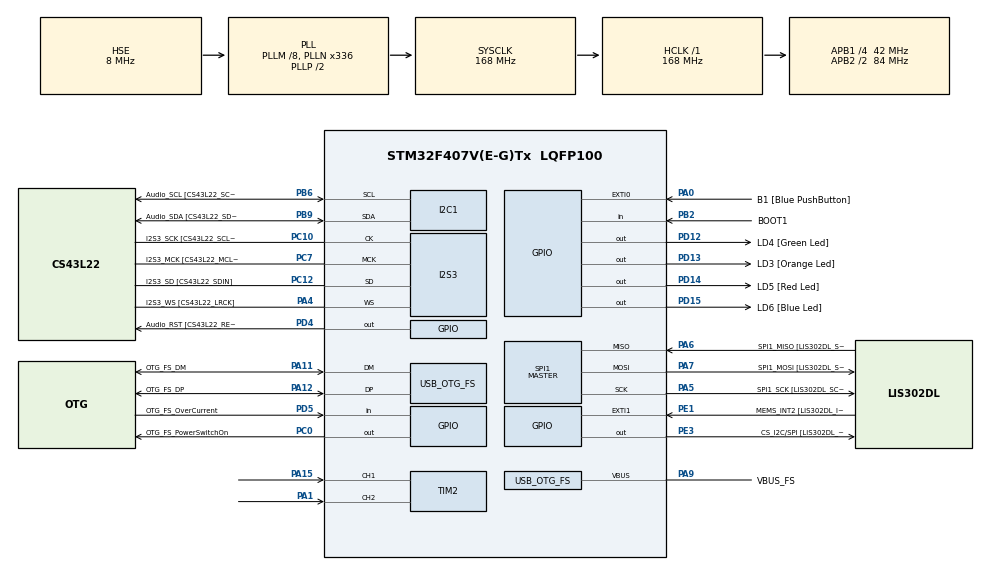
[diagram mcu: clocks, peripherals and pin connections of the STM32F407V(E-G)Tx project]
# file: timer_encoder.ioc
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I2S3.AudioFreq-Half_Duplex_Master=I2S_AUDIOFREQ_96K
I2S3.ErrorAudioFreq=-2.34 %
I2S3.ErrorAudioFreq-Half_Duplex_Master=0.8 %
I2S3.FullDuplexMode=I2S_FULLDUPLEXMODE_DISABLE
I2S3.Instance=SPI$Index
I2S3.RealAudioFreq=93.75 KHz
I2S3.RealAudioFreq-Half_Duplex_Master=96.774 KHz
I2S3.VirtualMode=I2S_MODE_MASTER
Mcu.Family=STM32F4
Mcu.Name=STM32F407V(E-G)Tx
Mcu.Package=LQFP100
NVIC.OTG_FS_IRQn=true\:0\:0\:false\:false\:true\:true\:true\:true
NVIC.PriorityGroup=NVIC_PRIORITYGROUP_0
NVIC.TIM2_IRQn=true\:0\:0\:false\:false\:true\:true\:true\:true
PA0-WKUP.GPIO_Label=B1 [Blue PushButton]
PA0-WKUP.GPIO_ModeDefaultEXTI=GPIO_MODE_EVT_RISING
PA0-WKUP.GPIO_PuPd=GPIO_NOPULL
PA0-WKUP.Signal=GPXTI0
PA1.Signal=S_TIM2_CH2
PA10.GPIO_Label=OTG_FS_ID
PA10.GPIO_Mode=GPIO_MODE_AF_PP
PA10.GPIO_PuPd=GPIO_NOPULL
PA10.GPIO_Speed=GPIO_SPEED_FREQ_LOW
PA10.Signal=USB_OTG_FS_ID
PA11.GPIO_Label=OTG_FS_DM
PA11.GPIO_Mode=GPIO_MODE_AF_PP
PA11.GPIO_PuPd=GPIO_NOPULL
PA11.GPIO_Speed=GPIO_SPEED_FREQ_LOW
PA11.Mode=Host_Only
PA11.Signal=USB_OTG_FS_DM
PA12.GPIO_Label=OTG_FS_DP
PA12.GPIO_Mode=GPIO_MODE_AF_PP
PA12.GPIO_PuPd=GPIO_NOPULL
PA12.GPIO_Speed=GPIO_SPEED_FREQ_LOW
PA12.Mode=Host_Only
PA12.Signal=USB_OTG_FS_DP
PA13.GPIO_Label=SWDIO
PA13.Mode=Serial_Wire
PA13.Signal=SYS_JTMS-SWDIO
PA14.GPIO_Label=SWCLK
PA14.Mode=Serial_Wire
PA14.Signal=SYS_JTCK-SWCLK
PA15.Signal=S_TIM2_CH1_ETR
PA4.GPIO_Label=I2S3_WS [CS43L22_LRCK]
PA4.GPIO_Mode=GPIO_MODE_AF_PP
PA4.GPIO_PuPd=GPIO_NOPULL
PA4.GPIO_Speed=GPIO_SPEED_FREQ_LOW
PA4.Mode=Half_Duplex_Master
PA4.Signal=I2S3_WS
PA5.GPIO_Label=SPI1_SCK [LIS302DL_SCL/SPC]
PA5.GPIO_Mode=GPIO_MODE_AF_PP
PA5.GPIO_PuPd=GPIO_NOPULL
PA5.GPIO_Speed=GPIO_SPEED_FREQ_LOW
PA5.Mode=Full_Duplex_Master
PA5.Signal=SPI1_SCK
PA6.GPIO_Label=SPI1_MISO [LIS302DL_SDO]
PA6.GPIO_Mode=GPIO_MODE_AF_PP
PA6.GPIO_PuPd=GPIO_NOPULL
PA6.GPIO_Speed=GPIO_SPEED_FREQ_LOW
PA6.Mode=Full_Duplex_Master
PA6.Signal=SPI1_MISO
PA7.GPIO_Label=SPI1_MOSI [LIS302DL_SDA/SDI/SDO]
PA7.GPIO_Mode=GPIO_MODE_AF_PP
PA7.GPIO_PuPd=GPIO_NOPULL
PA7.GPIO_Speed=GPIO_SPEED_FREQ_LOW
PA7.Mode=Full_Duplex_Master
PA7.Signal=SPI1_MOSI
PA9.GPIO_Label=VBUS_FS
PA9.GPIO_Mode=GPIO_MODE_INPUT
PA9.GPIO_PuPd=GPIO_NOPULL
PA9.Mode=Activate_VBUS
PA9.Signal=USB_OTG_FS_VBUS
PB10.GPIO_Label=CLK_IN [MP45DT02_CLK]
PB10.GPIO_Mode=GPIO_MODE_AF_PP
PB10.GPIO_PuPd=GPIO_NOPULL
PB10.GPIO_Speed=GPIO_SPEED_FREQ_LOW
PB10.Signal=I2S2_CK
PB2.GPIO_Label=BOOT1
PB2.GPIO_Mode=GPIO_MODE_INPUT
PB2.GPIO_PuPd=GPIO_NOPULL
PB2.Signal=GPIO_Input
PB3.GPIO_Label=SWO
PB3.Signal=SYS_JTDO-SWO
PB6.GPIO_Label=Audio_SCL [CS43L22_SCL]
PB6.GPIO_Mode=GPIO_MODE_AF_OD
PB6.GPIO_Pu=GPIO_PULLUP
PB6.GPIO_PuPd=GPIO_NOPULL
PB6.GPIO_Speed=GPIO_SPEED_FREQ_LOW
PB6.Mode=I2C
PB6.Signal=I2C1_SCL
PB9.GPIO_Label=Audio_SDA [CS43L22_SDA]
PB9.GPIO_Mode=GPIO_MODE_AF_OD
PB9.GPIO_Pu=GPIO_PULLUP
PB9.GPIO_PuPd=GPIO_NOPULL
PB9.GPIO_Speed=GPIO_SPEED_FREQ_LOW
PB9.Mode=I2C
PB9.Signal=I2C1_SDA
PC0.GPIO_Label=OTG_FS_PowerSwitchOn
PC0.GPIO_PuPd=GPIO_NOPULL
PC0.GPIO_Speed=GPIO_SPEED_FREQ_LOW
PC0.PinState=GPIO_PIN_SET
PC0.Signal=GPIO_Output
PC10.GPIO_Label=I2S3_SCK [CS43L22_SCLK]
PC10.GPIO_Mode=GPIO_MODE_AF_PP
PC10.GPIO_PuPd=GPIO_NOPULL
PC10.GPIO_Speed=GPIO_SPEED_FREQ_LOW
PC10.Mode=Half_Duplex_Master
PC10.Signal=I2S3_CK
PC12.GPIO_Label=I2S3_SD [CS43L22_SDIN]
PC12.GPIO_Mode=GPIO_MODE_AF_PP
PC12.GPIO_PuPd=GPIO_NOPULL
PC12.GPIO_Speed=GPIO_SPEED_FREQ_LOW
PC12.Mode=Half_Duplex_Master
PC12.Signal=I2S3_SD
PC14-OSC32_IN.GPIO_Label=PC14-OSC32_IN
PC14-OSC32_IN.Mode=LSE-External-Oscillator
PC14-OSC32_IN.Signal=RCC_OSC32_IN
PC15-OSC32_OUT.GPIO_Label=PC15-OSC32_OUT
PC15-OSC32_OUT.Mode=LSE-External-Oscillator
PC15-OSC32_OUT.Signal=RCC_OSC32_OUT
PC3.GPIO_Label=PDM_OUT [MP45DT02_DOUT]
PC3.GPIO_Mode=GPIO_MODE_AF_PP
PC3.GPIO_PuPd=GPIO_NOPULL
PC3.GPIO_Speed=GPIO_SPEED_FREQ_LOW
PC3.Signal=I2S2_SD
PC7.GPIO_Label=I2S3_MCK [CS43L22_MCLK]
PC7.GPIO_Mode=GPIO_MODE_AF_PP
PC7.GPIO_PuPd=GPIO_NOPULL
PC7.GPIO_Speed=GPIO_SPEED_FREQ_LOW
PC7.Mode=Master_Clock_Activated
PC7.Signal=I2S3_MCK
PD12.GPIO_Label=LD4 [Green Led]
PD12.GPIO_PuPd=GPIO_NOPULL
PD12.GPIO_Speed=GPIO_SPEED_FREQ_LOW
PD12.Signal=GPIO_Output
PD13.GPIO_Label=LD3 [Orange Led]
PD13.GPIO_PuPd=GPIO_NOPULL
PD13.GPIO_Speed=GPIO_SPEED_FREQ_LOW
PD13.Signal=GPIO_Output
PD14.GPIO_Label=LD5 [Red Led]
PD14.GPIO_PuPd=GPIO_NOPULL
PD14.GPIO_Speed=GPIO_SPEED_FREQ_LOW
PD14.Signal=GPIO_Output
PD15.GPIO_Label=LD6 [Blue Led]
PD15.GPIO_PuPd=GPIO_NOPULL
PD15.GPIO_Speed=GPIO_SPEED_FREQ_LOW
PD15.Signal=GPIO_Output
PD4.GPIO_Label=Audio_RST [CS43L22_RESET]
PD4.GPIO_PuPd=GPIO_NOPULL
PD4.GPIO_Speed=GPIO_SPEED_FREQ_LOW
PD4.Signal=GPIO_Output
PD5.GPIO_Label=OTG_FS_OverCurrent
PD5.GPIO_Mode=GPIO_MODE_INPUT
PD5.GPIO_PuPd=GPIO_NOPULL
PD5.Signal=GPIO_Input
PE1.GPIO_Label=MEMS_INT2 [LIS302DL_INT2]
PE1.GPIO_ModeDefaultEXTI=GPIO_MODE_EVT_RISING
PE1.GPIO_PuPd=GPIO_NOPULL
PE1.Signal=GPXTI1
PE3.GPIO_Label=CS_I2C/SPI [LIS302DL_CS_I2C/SPI]
PE3.GPIO_PuPd=GPIO_NOPULL
PE3.GPIO_Speed=GPIO_SPEED_FREQ_LOW
PE3.Signal=GPIO_Output
PH0-OSC_IN.GPIO_Label=PH0-OSC_IN
PH0-OSC_IN.Mode=HSE-External-Oscillator
PH0-OSC_IN.Signal=RCC_OSC_IN
PH1-OSC_OUT.GPIO_Label=PH1-OSC_OUT
PH1-OSC_OUT.Mode=HSE-External-Oscillator
PH1-OSC_OUT.Signal=RCC_OSC_OUT
ProjectManager.HeapSize=0x200
ProjectManager.StackSize=0x400
ProjectManager.TargetToolchain=STM32CubeIDE
RCC.48MHZClocksFreq_Value=48000000
RCC.AHBFreq_Value=168000000
RCC.APB1CLKDivider=RCC_HCLK_DIV4
RCC.APB1Freq_Value=42000000
RCC.APB1TimFreq_Value=84000000
RCC.APB2CLKDivider=RCC_HCLK_DIV2
RCC.APB2Freq_Value=84000000
RCC.APB2TimFreq_Value=168000000
RCC.CortexFreq_Value=168000000
RCC.HCLKFreq_Value=168000000
RCC.HSE_VALUE=8000000
RCC.HSI_VALUE=16000000
RCC.PLLM=8
RCC.PLLN=336
RCC.PLLQ=7
RCC.SYSCLKFreq_VALUE=168000000
RCC.SYSCLKSource=RCC_SYSCLKSOURCE_PLLCLK
RCC.VCOOutputFreq_Value=336000000
SH.S_TIM2_CH1_ETR.0=TIM2_CH1,Encoder_Interface
SH.S_TIM2_CH2.0=TIM2_CH2,Encoder_Interface
SPI1.BaudRatePrescaler-Full_Duplex_Master=SPI_BAUDRATEPRESCALER_2
SPI1.CalculateBaudRate-Full_Duplex_Master=42.0 MBits/s
SPI1.Direction=SPI_DIRECTION_2LINES
SPI1.Mode=SPI_MODE_MASTER
SPI1.Mode-Full_Duplex_Master=SPI_MODE_MASTER
SPI1.VirtualType=VM_MASTER
TIM2.EncoderMode=TIM_ENCODERMODE_TI12
TIM2.IC1Polarity=TIM_ICPOLARITY_FALLING
TIM2.IC2Polarity=TIM_ICPOLARITY_FALLING
USB_HOST.BSP.number=1
USB_HOST.USBH_HandleTypeDef-CDC_FS=hUsbHostFS
USB_HOST.VirtualModeFS=Cdc
USB_HOST0.BSP.STBoard=false
USB_HOST0.BSP.api=Unknown
USB_HOST0.BSP.instance=PC0
USB_HOST0.BSP.ip=GPIO
USB_HOST0.BSP.mode=Output
USB_HOST0.BSP.name=Drive_VBUS_FS
USB_HOST0.BSP.solution=PC0
USB_OTG_FS.VirtualMode=Host_Only
USB_OTG_FS.phy_itface=HCD_PHY_EMBEDDED
VP_USB_HOST_VS_USB_HOST_CDC_FS.Mode=CDC_FS
board=STM32F407G-DISC1

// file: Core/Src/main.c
/* USER CODE BEGIN Header */
/**
  ******************************************************************************
  * @file           : main.c
  * @brief          : Main program body
  ******************************************************************************
  * @attention
  *
  * Copyright (c) 2026 STMicroelectronics.
  * All rights reserved.
  *
  * This software is licensed under terms that can be found in the LICENSE file
  * in the root directory of this software component.
  * If no LICENSE file comes with this software, it is provided AS-IS.
  *
  ******************************************************************************
  */
/* USER CODE END Header */
#include "main.h"
#include "usb_host.h"

I2C_HandleTypeDef hi2c1;

I2S_HandleTypeDef hi2s3;

SPI_HandleTypeDef hspi1;

TIM_HandleTypeDef htim2;

void SystemClock_Config(void);
static void MX_GPIO_Init(void);
static void MX_I2C1_Init(void);
static void MX_I2S3_Init(void);
static void MX_SPI1_Init(void);
static void MX_TIM2_Init(void);
void MX_USB_HOST_Process(void);

/* USER CODE BEGIN 0 */

int32_t position = 0;
int32_t speed = 0;

/* USER CODE END 0 */

int main(void)
{

  /* MCU Configuration--------------------------------------------------------*/

  /* Reset of all peripherals, Initializes the Flash interface and the Systick. */
  HAL_Init();

  /* Configure the system clock */
  SystemClock_Config();

  /* Initialize all configured peripherals */
  MX_GPIO_Init();
  MX_I2C1_Init();
  MX_I2S3_Init();
  MX_SPI1_Init();
  MX_USB_HOST_Init();
  MX_TIM2_Init();
  /* USER CODE BEGIN 2 */

  HAL_TIM_Encoder_Start_IT(&htim2, TIM_CHANNEL_ALL);

  uint32_t last_tick = HAL_GetTick();
  const uint32_t PERIOD = 500;

  int32_t last_position = 0;

  /* USER CODE END 2 */

  /* Infinite loop */
  while (1)
  {
    MX_USB_HOST_Process();

    /* USER CODE BEGIN 3 */
    uint32_t tick = HAL_GetTick();
    if(tick - last_tick < PERIOD) continue;
    last_tick = tick;

    speed = position - last_position;
    last_position = position;

  }
  /* USER CODE END 3 */
}

void SystemClock_Config(void)
{
  RCC_OscInitTypeDef RCC_OscInitStruct = {0};
  RCC_ClkInitTypeDef RCC_ClkInitStruct = {0};

  /** Configure the main internal regulator output voltage
  */
  __HAL_RCC_PWR_CLK_ENABLE();
  __HAL_PWR_VOLTAGESCALING_CONFIG(PWR_REGULATOR_VOLTAGE_SCALE1);

  /** Initializes the RCC Oscillators according to the specified parameters
  * in the RCC_OscInitTypeDef structure.
  */
  RCC_OscInitStruct.OscillatorType = RCC_OSCILLATORTYPE_HSE;
  RCC_OscInitStruct.HSEState = RCC_HSE_ON;
  RCC_OscInitStruct.PLL.PLLState = RCC_PLL_ON;
  RCC_OscInitStruct.PLL.PLLSource = RCC_PLLSOURCE_HSE;
  RCC_OscInitStruct.PLL.PLLM = 8;
  RCC_OscInitStruct.PLL.PLLN = 336;
  RCC_OscInitStruct.PLL.PLLP = RCC_PLLP_DIV2;
  RCC_OscInitStruct.PLL.PLLQ = 7;
  if (HAL_RCC_OscConfig(&RCC_OscInitStruct) != HAL_OK)
  {
    Error_Handler();
  }

  /** Initializes the CPU, AHB and APB buses clocks
  */
  RCC_ClkInitStruct.ClockType = RCC_CLOCKTYPE_HCLK|RCC_CLOCKTYPE_SYSCLK
                              |RCC_CLOCKTYPE_PCLK1|RCC_CLOCKTYPE_PCLK2;
  RCC_ClkInitStruct.SYSCLKSource = RCC_SYSCLKSOURCE_PLLCLK;
  RCC_ClkInitStruct.AHBCLKDivider = RCC_SYSCLK_DIV1;
  RCC_ClkInitStruct.APB1CLKDivider = RCC_HCLK_DIV4;
  RCC_ClkInitStruct.APB2CLKDivider = RCC_HCLK_DIV2;

  if (HAL_RCC_ClockConfig(&RCC_ClkInitStruct, FLASH_LATENCY_5) != HAL_OK)
  {
    Error_Handler();
  }
}

static void MX_I2C1_Init(void)
{

  hi2c1.Instance = I2C1;
  hi2c1.Init.ClockSpeed = 100000;
  hi2c1.Init.DutyCycle = I2C_DUTYCYCLE_2;
  hi2c1.Init.OwnAddress1 = 0;
  hi2c1.Init.AddressingMode = I2C_ADDRESSINGMODE_7BIT;
  hi2c1.Init.DualAddressMode = I2C_DUALADDRESS_DISABLE;
  hi2c1.Init.OwnAddress2 = 0;
  hi2c1.Init.GeneralCallMode = I2C_GENERALCALL_DISABLE;
  hi2c1.Init.NoStretchMode = I2C_NOSTRETCH_DISABLE;
  if (HAL_I2C_Init(&hi2c1) != HAL_OK)
  {
    Error_Handler();
  }

}

static void MX_I2S3_Init(void)
{

  hi2s3.Instance = SPI3;
  hi2s3.Init.Mode = I2S_MODE_MASTER_TX;
  hi2s3.Init.Standard = I2S_STANDARD_PHILIPS;
  hi2s3.Init.DataFormat = I2S_DATAFORMAT_16B;
  hi2s3.Init.MCLKOutput = I2S_MCLKOUTPUT_ENABLE;
  hi2s3.Init.AudioFreq = I2S_AUDIOFREQ_96K;
  hi2s3.Init.CPOL = I2S_CPOL_LOW;
  hi2s3.Init.ClockSource = I2S_CLOCK_PLL;
  hi2s3.Init.FullDuplexMode = I2S_FULLDUPLEXMODE_DISABLE;
  if (HAL_I2S_Init(&hi2s3) != HAL_OK)
  {
    Error_Handler();
  }

}

static void MX_SPI1_Init(void)
{

  /* SPI1 parameter configuration*/
  hspi1.Instance = SPI1;
  hspi1.Init.Mode = SPI_MODE_MASTER;
  hspi1.Init.Direction = SPI_DIRECTION_2LINES;
  hspi1.Init.DataSize = SPI_DATASIZE_8BIT;
  hspi1.Init.CLKPolarity = SPI_POLARITY_LOW;
  hspi1.Init.CLKPhase = SPI_PHASE_1EDGE;
  hspi1.Init.NSS = SPI_NSS_SOFT;
  hspi1.Init.BaudRatePrescaler = SPI_BAUDRATEPRESCALER_2;
  hspi1.Init.FirstBit = SPI_FIRSTBIT_MSB;
  hspi1.Init.TIMode = SPI_TIMODE_DISABLE;
  hspi1.Init.CRCCalculation = SPI_CRCCALCULATION_DISABLE;
  hspi1.Init.CRCPolynomial = 10;
  if (HAL_SPI_Init(&hspi1) != HAL_OK)
  {
    Error_Handler();
  }

}

static void MX_TIM2_Init(void)
{

  TIM_Encoder_InitTypeDef sConfig = {0};
  TIM_MasterConfigTypeDef sMasterConfig = {0};

  htim2.Instance = TIM2;
  htim2.Init.Prescaler = 0;
  htim2.Init.CounterMode = TIM_COUNTERMODE_UP;
  htim2.Init.Period = 4294967295;
  htim2.Init.ClockDivision = TIM_CLOCKDIVISION_DIV1;
  htim2.Init.AutoReloadPreload = TIM_AUTORELOAD_PRELOAD_DISABLE;
  sConfig.EncoderMode = TIM_ENCODERMODE_TI12;
  sConfig.IC1Polarity = TIM_ICPOLARITY_FALLING;
  sConfig.IC1Selection = TIM_ICSELECTION_DIRECTTI;
  sConfig.IC1Prescaler = TIM_ICPSC_DIV1;
  sConfig.IC1Filter = 0;
  sConfig.IC2Polarity = TIM_ICPOLARITY_FALLING;
  sConfig.IC2Selection = TIM_ICSELECTION_DIRECTTI;
  sConfig.IC2Prescaler = TIM_ICPSC_DIV1;
  sConfig.IC2Filter = 0;
  if (HAL_TIM_Encoder_Init(&htim2, &sConfig) != HAL_OK)
  {
    Error_Handler();
  }
  sMasterConfig.MasterOutputTrigger = TIM_TRGO_RESET;
  sMasterConfig.MasterSlaveMode = TIM_MASTERSLAVEMODE_DISABLE;
  if (HAL_TIMEx_MasterConfigSynchronization(&htim2, &sMasterConfig) != HAL_OK)
  {
    Error_Handler();
  }

}

static void MX_GPIO_Init(void)
{
  GPIO_InitTypeDef GPIO_InitStruct = {0};

  /* GPIO Ports Clock Enable */
  __HAL_RCC_GPIOE_CLK_ENABLE();
  __HAL_RCC_GPIOC_CLK_ENABLE();
  __HAL_RCC_GPIOH_CLK_ENABLE();
  __HAL_RCC_GPIOA_CLK_ENABLE();
  __HAL_RCC_GPIOB_CLK_ENABLE();
  __HAL_RCC_GPIOD_CLK_ENABLE();

  /*Configure GPIO pin Output Level */
  HAL_GPIO_WritePin(CS_I2C_SPI_GPIO_Port, CS_I2C_SPI_Pin, GPIO_PIN_RESET);

  /*Configure GPIO pin Output Level */
  HAL_GPIO_WritePin(OTG_FS_PowerSwitchOn_GPIO_Port, OTG_FS_PowerSwitchOn_Pin, GPIO_PIN_SET);

  /*Configure GPIO pin Output Level */
  HAL_GPIO_WritePin(GPIOD, LD4_Pin|LD3_Pin|LD5_Pin|LD6_Pin
                          |Audio_RST_Pin, GPIO_PIN_RESET);

  /*Configure GPIO pin : CS_I2C_SPI_Pin */
  GPIO_InitStruct.Pin = CS_I2C_SPI_Pin;
  GPIO_InitStruct.Mode = GPIO_MODE_OUTPUT_PP;
  GPIO_InitStruct.Pull = GPIO_NOPULL;
  GPIO_InitStruct.Speed = GPIO_SPEED_FREQ_LOW;
  HAL_GPIO_Init(CS_I2C_SPI_GPIO_Port, &GPIO_InitStruct);

  /*Configure GPIO pin : OTG_FS_PowerSwitchOn_Pin */
  GPIO_InitStruct.Pin = OTG_FS_PowerSwitchOn_Pin;
  GPIO_InitStruct.Mode = GPIO_MODE_OUTPUT_PP;
  GPIO_InitStruct.Pull = GPIO_NOPULL;
  GPIO_InitStruct.Speed = GPIO_SPEED_FREQ_LOW;
  HAL_GPIO_Init(OTG_FS_PowerSwitchOn_GPIO_Port, &GPIO_InitStruct);

  /*Configure GPIO pin : PDM_OUT_Pin */
  GPIO_InitStruct.Pin = PDM_OUT_Pin;
  GPIO_InitStruct.Mode = GPIO_MODE_AF_PP;
  GPIO_InitStruct.Pull = GPIO_NOPULL;
  GPIO_InitStruct.Speed = GPIO_SPEED_FREQ_LOW;
  GPIO_InitStruct.Alternate = GPIO_AF5_SPI2;
  HAL_GPIO_Init(PDM_OUT_GPIO_Port, &GPIO_InitStruct);

  /*Configure GPIO pin : B1_Pin */
  GPIO_InitStruct.Pin = B1_Pin;
  GPIO_InitStruct.Mode = GPIO_MODE_EVT_RISING;
  GPIO_InitStruct.Pull = GPIO_NOPULL;
  HAL_GPIO_Init(B1_GPIO_Port, &GPIO_InitStruct);

  /*Configure GPIO pin : BOOT1_Pin */
  GPIO_InitStruct.Pin = BOOT1_Pin;
  GPIO_InitStruct.Mode = GPIO_MODE_INPUT;
  GPIO_InitStruct.Pull = GPIO_NOPULL;
  HAL_GPIO_Init(BOOT1_GPIO_Port, &GPIO_InitStruct);

  /*Configure GPIO pin : CLK_IN_Pin */
  GPIO_InitStruct.Pin = CLK_IN_Pin;
  GPIO_InitStruct.Mode = GPIO_MODE_AF_PP;
  GPIO_InitStruct.Pull = GPIO_NOPULL;
  GPIO_InitStruct.Speed = GPIO_SPEED_FREQ_LOW;
  GPIO_InitStruct.Alternate = GPIO_AF5_SPI2;
  HAL_GPIO_Init(CLK_IN_GPIO_Port, &GPIO_InitStruct);

  /*Configure GPIO pins : LD4_Pin LD3_Pin LD5_Pin LD6_Pin
                           Audio_RST_Pin */
  GPIO_InitStruct.Pin = LD4_Pin|LD3_Pin|LD5_Pin|LD6_Pin
                          |Audio_RST_Pin;
  GPIO_InitStruct.Mode = GPIO_MODE_OUTPUT_PP;
  GPIO_InitStruct.Pull = GPIO_NOPULL;
  GPIO_InitStruct.Speed = GPIO_SPEED_FREQ_LOW;
  HAL_GPIO_Init(GPIOD, &GPIO_InitStruct);

  /*Configure GPIO pin : OTG_FS_OverCurrent_Pin */
  GPIO_InitStruct.Pin = OTG_FS_OverCurrent_Pin;
  GPIO_InitStruct.Mode = GPIO_MODE_INPUT;
  GPIO_InitStruct.Pull = GPIO_NOPULL;
  HAL_GPIO_Init(OTG_FS_OverCurrent_GPIO_Port, &GPIO_InitStruct);

  /*Configure GPIO pin : MEMS_INT2_Pin */
  GPIO_InitStruct.Pin = MEMS_INT2_Pin;
  GPIO_InitStruct.Mode = GPIO_MODE_EVT_RISING;
  GPIO_InitStruct.Pull = GPIO_NOPULL;
  HAL_GPIO_Init(MEMS_INT2_GPIO_Port, &GPIO_InitStruct);

}

/* USER CODE BEGIN 4 */

void HAL_TIM_IC_CaptureCallback(TIM_HandleTypeDef* htim){
	uint32_t counter = __HAL_TIM_GET_COUNTER(htim);
	int32_t count = (int32_t)counter;

	position = count/4;
}

/* USER CODE END 4 */

void Error_Handler(void)
{
  __disable_irq();
  while (1)
  {
  }
}
